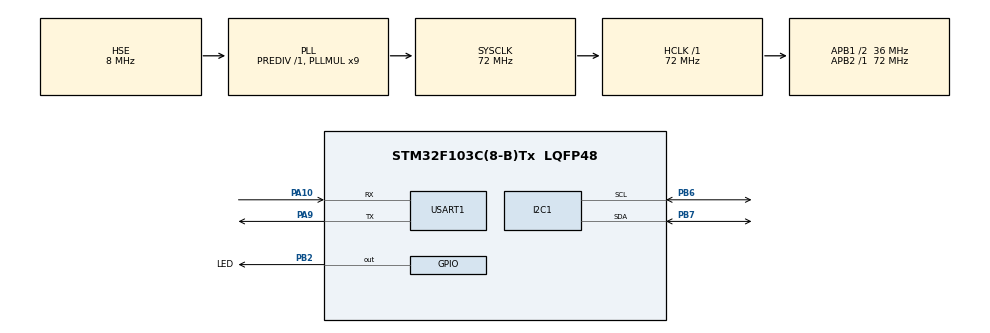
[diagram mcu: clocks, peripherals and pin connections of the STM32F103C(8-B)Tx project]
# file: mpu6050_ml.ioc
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I2C1.I2C_Mode=I2C_Fast
Mcu.Family=STM32F1
Mcu.Name=STM32F103C(8-B)Tx
Mcu.Package=LQFP48
NVIC.PriorityGroup=NVIC_PRIORITYGROUP_4
PA10.Mode=Asynchronous
PA10.Signal=USART1_RX
PA9.Mode=Asynchronous
PA9.Signal=USART1_TX
PB2.GPIO_Label=LED
PB2.GPIO_Speed=GPIO_SPEED_FREQ_HIGH
PB2.Signal=GPIO_Output
PB6.Mode=I2C
PB6.Signal=I2C1_SCL
PB7.Mode=I2C
PB7.Signal=I2C1_SDA
PD0-OSC_IN.Mode=HSE-External-Oscillator
PD0-OSC_IN.Signal=RCC_OSC_IN
PD1-OSC_OUT.Mode=HSE-External-Oscillator
PD1-OSC_OUT.Signal=RCC_OSC_OUT
ProjectManager.HeapSize=0x200
ProjectManager.StackSize=0x400
ProjectManager.TargetToolchain=STM32CubeIDE
RCC.AHBFreq_Value=72000000
RCC.APB1CLKDivider=RCC_HCLK_DIV2
RCC.APB1Freq_Value=36000000
RCC.APB1TimFreq_Value=72000000
RCC.APB2Freq_Value=72000000
RCC.APB2TimFreq_Value=72000000
RCC.HCLKFreq_Value=72000000
RCC.PLLMUL=RCC_PLL_MUL9
RCC.PLLSourceVirtual=RCC_PLLSOURCE_HSE
RCC.SYSCLKFreq_VALUE=72000000
RCC.SYSCLKSource=RCC_SYSCLKSOURCE_PLLCLK
RCC.USBFreq_Value=72000000
USART1.VirtualMode=VM_ASYNC
VP_SYS_VS_ND.Mode=No_Debug
board=custom

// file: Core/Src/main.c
/* USER CODE BEGIN Header */
/**
  ******************************************************************************
  * @file           : main.c
  * @brief          : Main program body
  ******************************************************************************
  * @attention
  *
  * Copyright (c) 2025 STMicroelectronics.
  * All rights reserved.
  *
  * This software is licensed under terms that can be found in the LICENSE file
  * in the root directory of this software component.
  * If no LICENSE file comes with this software, it is provided AS-IS.
  *
  ******************************************************************************
  */
/* USER CODE END Header */
#include "main.h"

/* USER CODE BEGIN Includes */
#include <stdio.h>
#include <string.h>
#include "NanoEdgeAI.h" //NanoEdgeAI Headers
/* USER CODE END Includes */

/* USER CODE BEGIN PD */

// MPU6050 Adresses
#define MPU6050_ADDR       0xD0 // 1101000 for AD0 -> GND
#define SMPLRT_DIV_REG     0x19
#define GYRO_CONFIG_REG    0x1B
#define ACCEL_CONFIG_REG   0x1C
#define ACCEL_XOUT_H_REG   0x3B
#define TEMP_OUT_H_REG     0x41
#define GYRO_XOUT_H_REG    0x43
#define PWR_MGMT_1_REG     0x6B
#define WHO_AM_I_REG       0x75

#define BUFFER_SIZE 256  // tamanho mínimo exigido pelo NanoEdge AI

// NanoEdge AI
#define LEARNING_ITERATIONS    20                        // Número de iterações para o aprendizado
#define DATA_INPUT_USER       256                        // Número de amostras por eixo
#define AXIS_NUMBER             3                        // Número de eixos (X, Y, Z)
/* USER CODE END PD */

I2C_HandleTypeDef hi2c1;

UART_HandleTypeDef huart1;

/* USER CODE BEGIN PV */
float input_user_buffer[DATA_INPUT_USER * AXIS_NUMBER];  // Buffer de dados do acelerômetro
uint8_t similarity = 0;                                  // Variável para armazenar a similaridade
volatile uint32_t dataRdyIntReceived = 0;                // Indicador de dados prontos

int16_t Accel_X_RAW = 0;
int16_t Accel_Y_RAW = 0;
int16_t Accel_Z_RAW = 0;

float Ax, Ay, Az;
/* USER CODE END PV */

void SystemClock_Config(void);
static void MX_GPIO_Init(void);
static void MX_I2C1_Init(void);
static void MX_USART1_UART_Init(void);

/* USER CODE BEGIN 0 */

void MPU6050_Init(void)
{
	uint8_t check;
	uint8_t Data;

	HAL_I2C_Mem_Read (&hi2c1, MPU6050_ADDR, 0x75, 1, &check, 1, 1000);
	if (check == 0x68)
	{
		Data = 0;
		HAL_I2C_Mem_Write(&hi2c1, MPU6050_ADDR, 0x6B, 1,&Data, 1, 1000);

		Data = 0x07;
		HAL_I2C_Mem_Write(&hi2c1, MPU6050_ADDR, 0x19, 1, &Data, 1, 1000);

		Data = 0x00;
		HAL_I2C_Mem_Write(&hi2c1, MPU6050_ADDR, 0x1B, 1, &Data, 1, 1000);

		Data = 0x00;  // XA_ST=0,YA_ST=0,ZA_ST=0, FS_SEL=0 -> ± 2g
		HAL_I2C_Mem_Write(&hi2c1, MPU6050_ADDR, 0x1C, 1, &Data, 1, 1000);
	}

}

void MPU6050_Read_Accel(void)
{
	uint8_t Rec_Data[6];

	HAL_I2C_Mem_Read (&hi2c1, MPU6050_ADDR, 0x3B, 1, Rec_Data, 6, 1000);

	Accel_X_RAW = (int16_t)(Rec_Data[0] << 8 | Rec_Data [1]);
	Accel_Y_RAW = (int16_t)(Rec_Data[2] << 8 | Rec_Data [3]);
	Accel_Z_RAW = (int16_t)(Rec_Data[4] << 8 | Rec_Data [5]);

	Ax = (float)Accel_X_RAW/16384.0;
	Ay = (float)Accel_Y_RAW/16384.0;
	Az = (float)Accel_Z_RAW/16384.0;
}

void fill_buffer(float input_buffer[])
{
    uint16_t i;
    for (i = 0; i < (DATA_INPUT_USER * AXIS_NUMBER); i += 3)
    {
        MPU6050_Read_Accel();

        input_buffer[i] = Ax;     // X
        input_buffer[i + 1] = Ay; // Y
        input_buffer[i + 2] = Az; // Z

        HAL_Delay(10);
    }
}

int _write(int fd, char *ptr, int len)
{
    HAL_UART_Transmit(&huart1, (uint8_t *)ptr, len, HAL_MAX_DELAY);
    return len;
}

void LED_Control(uint8_t status)
{
    if (status)
    {
        HAL_GPIO_WritePin(GPIOB, GPIO_PIN_2, GPIO_PIN_SET);  // Acende o LED
    }
    else
    {
        HAL_GPIO_WritePin(GPIOB, GPIO_PIN_2, GPIO_PIN_RESET);  // Apaga o LED
    }
}
/* USER CODE END 0 */

int main(void)
{

  /* MCU Configuration--------------------------------------------------------*/

  /* Reset of all peripherals, Initializes the Flash interface and the Systick. */
  HAL_Init();

  /* Configure the system clock */
  SystemClock_Config();

  /* Initialize all configured peripherals */
  MX_GPIO_Init();
  MX_I2C1_Init();
  MX_USART1_UART_Init();
  /* USER CODE BEGIN 2 */

  MPU6050_Init(); // Inicializa o MPU6050

  char test_msg[] = "MPU6050 Inicializado\nIniciando o modelo de deteccao...\n";
  HAL_UART_Transmit(&huart1, (uint8_t*)test_msg, strlen(test_msg), HAL_MAX_DELAY);

  // Inicialização do modelo NanoEdge AI
  enum neai_state error_code;
  error_code = neai_anomalydetection_init();
  if (error_code != NEAI_OK)
  {
      char error_msg[] = "Erro na inicializacao do modelo!\n";
      HAL_UART_Transmit(&huart1, (uint8_t*)error_msg, strlen(error_msg), HAL_MAX_DELAY);
      Error_Handler();
  }

  for (uint16_t iteration = 0; iteration < LEARNING_ITERATIONS; iteration++)
  {
      fill_buffer(input_user_buffer);
      neai_anomalydetection_learn(input_user_buffer);
  }
  /* USER CODE END 2 */

  /* Infinite loop */
  /* USER CODE BEGIN WHILE */
  while (1)
  {
	  fill_buffer(input_user_buffer);
	  enum neai_state detect_result = neai_anomalydetection_detect(input_user_buffer, &similarity);
	  if (detect_result != NEAI_OK)
	  {
	      char error_msg[] = "Erro na deteccao de anomalias!\n";
	      HAL_UART_Transmit(&huart1, (uint8_t*)error_msg, strlen(error_msg), HAL_MAX_DELAY);
	      Error_Handler();
	  }

	  // Verifica se há uma anomalia
	  char result_msg[50];
	  if (similarity < 70)
	  {
		  LED_Control(1);  // Liga o LED
		  snprintf(result_msg, sizeof(result_msg), "ANOMALIA DETECTADA! Sim: %d\n", similarity);
	  }
	  else
	  {
		  LED_Control(0);  // Desliga o LED
		  snprintf(result_msg, sizeof(result_msg), "NORMAL. Sim: %d\n", similarity);
	  }

	  HAL_UART_Transmit(&huart1, (uint8_t*)result_msg, strlen(result_msg), HAL_MAX_DELAY);

	  HAL_Delay(50);
    /* USER CODE END WHILE */

  }
}

void SystemClock_Config(void)
{
  RCC_OscInitTypeDef RCC_OscInitStruct = {0};
  RCC_ClkInitTypeDef RCC_ClkInitStruct = {0};

  /** Initializes the RCC Oscillators according to the specified parameters
  * in the RCC_OscInitTypeDef structure.
  */
  RCC_OscInitStruct.OscillatorType = RCC_OSCILLATORTYPE_HSE;
  RCC_OscInitStruct.HSEState = RCC_HSE_ON;
  RCC_OscInitStruct.HSEPredivValue = RCC_HSE_PREDIV_DIV1;
  RCC_OscInitStruct.HSIState = RCC_HSI_ON;
  RCC_OscInitStruct.PLL.PLLState = RCC_PLL_ON;
  RCC_OscInitStruct.PLL.PLLSource = RCC_PLLSOURCE_HSE;
  RCC_OscInitStruct.PLL.PLLMUL = RCC_PLL_MUL9;
  if (HAL_RCC_OscConfig(&RCC_OscInitStruct) != HAL_OK)
  {
    Error_Handler();
  }

  /** Initializes the CPU, AHB and APB buses clocks
  */
  RCC_ClkInitStruct.ClockType = RCC_CLOCKTYPE_HCLK|RCC_CLOCKTYPE_SYSCLK
                              |RCC_CLOCKTYPE_PCLK1|RCC_CLOCKTYPE_PCLK2;
  RCC_ClkInitStruct.SYSCLKSource = RCC_SYSCLKSOURCE_PLLCLK;
  RCC_ClkInitStruct.AHBCLKDivider = RCC_SYSCLK_DIV1;
  RCC_ClkInitStruct.APB1CLKDivider = RCC_HCLK_DIV2;
  RCC_ClkInitStruct.APB2CLKDivider = RCC_HCLK_DIV1;

  if (HAL_RCC_ClockConfig(&RCC_ClkInitStruct, FLASH_LATENCY_2) != HAL_OK)
  {
    Error_Handler();
  }
}

static void MX_I2C1_Init(void)
{

  hi2c1.Instance = I2C1;
  hi2c1.Init.ClockSpeed = 400000;
  hi2c1.Init.DutyCycle = I2C_DUTYCYCLE_2;
  hi2c1.Init.OwnAddress1 = 0;
  hi2c1.Init.AddressingMode = I2C_ADDRESSINGMODE_7BIT;
  hi2c1.Init.DualAddressMode = I2C_DUALADDRESS_DISABLE;
  hi2c1.Init.OwnAddress2 = 0;
  hi2c1.Init.GeneralCallMode = I2C_GENERALCALL_DISABLE;
  hi2c1.Init.NoStretchMode = I2C_NOSTRETCH_DISABLE;
  if (HAL_I2C_Init(&hi2c1) != HAL_OK)
  {
    Error_Handler();
  }

}

static void MX_USART1_UART_Init(void)
{

  huart1.Instance = USART1;
  huart1.Init.BaudRate = 115200;
  huart1.Init.WordLength = UART_WORDLENGTH_8B;
  huart1.Init.StopBits = UART_STOPBITS_1;
  huart1.Init.Parity = UART_PARITY_NONE;
  huart1.Init.Mode = UART_MODE_TX_RX;
  huart1.Init.HwFlowCtl = UART_HWCONTROL_NONE;
  huart1.Init.OverSampling = UART_OVERSAMPLING_16;
  if (HAL_UART_Init(&huart1) != HAL_OK)
  {
    Error_Handler();
  }

}

static void MX_GPIO_Init(void)
{
  GPIO_InitTypeDef GPIO_InitStruct = {0};

  /* GPIO Ports Clock Enable */
  __HAL_RCC_GPIOD_CLK_ENABLE();
  __HAL_RCC_GPIOB_CLK_ENABLE();
  __HAL_RCC_GPIOA_CLK_ENABLE();

  /*Configure GPIO pin Output Level */
  HAL_GPIO_WritePin(LED_GPIO_Port, LED_Pin, GPIO_PIN_RESET);

  /*Configure GPIO pin : LED_Pin */
  GPIO_InitStruct.Pin = LED_Pin;
  GPIO_InitStruct.Mode = GPIO_MODE_OUTPUT_PP;
  GPIO_InitStruct.Pull = GPIO_NOPULL;
  GPIO_InitStruct.Speed = GPIO_SPEED_FREQ_HIGH;
  HAL_GPIO_Init(LED_GPIO_Port, &GPIO_InitStruct);

}

void Error_Handler(void)
{
  __disable_irq();
  while (1)
  {
  }
}
